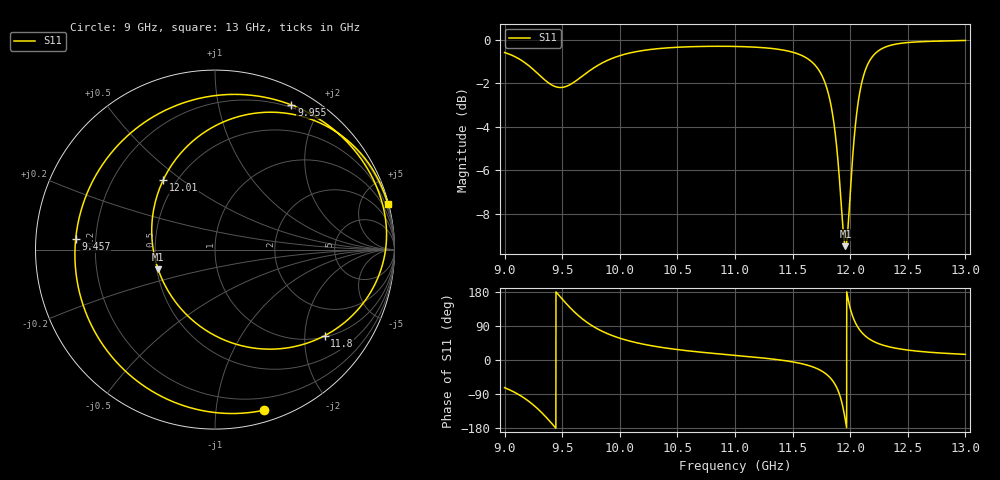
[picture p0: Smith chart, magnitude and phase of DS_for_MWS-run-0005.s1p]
! TOUCHSTONE file generated by CST DESIGN STUDIO
! Date and time: Tue Feb  4 17:29:45 2025
! Project name: C:\Work\MatlabApps\UnitCellOptimizationMatlab\CST\unitcell.cst
! Tree item: Tasks\Sweep1\SPara1\S-Parameters
! Header version: 2024
! Port assignment regex: !\s*Touchstone port\s*([0-9]+)\s*=\s*(CST MWS port|CST DES external port|CST DES block port)\s*(.+)\s* \(\"(.*)\"\)(\s*mode\s*([0-9]+))?.*
! Touchstone port assignment:
! Touchstone port 1 = CST DES external port 1 ("")
# GHz S MA R 50
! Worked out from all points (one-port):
!   4001 points, 9 GHz to 13 GHz, reference 50 ohm
!   lowest |S11| = -9.5 dB at 11.96 GHz (marker M1), VSWR 2.01, Z = 25.4 - j6.31 ohm
!   |S11| at or under -10 dB: nowhere
!   S11 on the Smith chart (normalised r, x): 9 GHz: 0.09, -1.35; 9.457 GHz: 0.12, +0.04; 9.955 GHz: 0.17, +1.65; 11.8 GHz: 1.04, -2.51; 12.01 GHz: 0.42, +0.43; 13 GHz: 0.08, +7.66
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9  0.9355 -73.0
9.136  0.9011 -93.8
9.241  0.8588 -116.5
9.363  0.8033 -151.9
9.457  0.7786 175.8
9.5  0.7777 160.8
9.597  0.7977 129.5
9.692  0.8323 104.5
9.802  0.8716 82.9
9.955  0.9116 62.1
10  0.9201 57.5
10.215  0.9469 41.0
10.5  0.962 27.5
11  0.9662 12.3
11.5  0.9373 -4.9
11.683  0.8819 -19.1
11.796  0.7764 -38.2
11.891  0.5374 -77.9
11.924  0.4123 -107.9
11.959  0.3352 -160.8
12  0.4427 136.6
12.009  0.4825 126.9
12.044  0.6324 99.0
12.081  0.7521 80.1
12.198  0.9191 49.7
12.318  0.966 36.3
12.5  0.9864 26.2
13  0.9974 14.9
